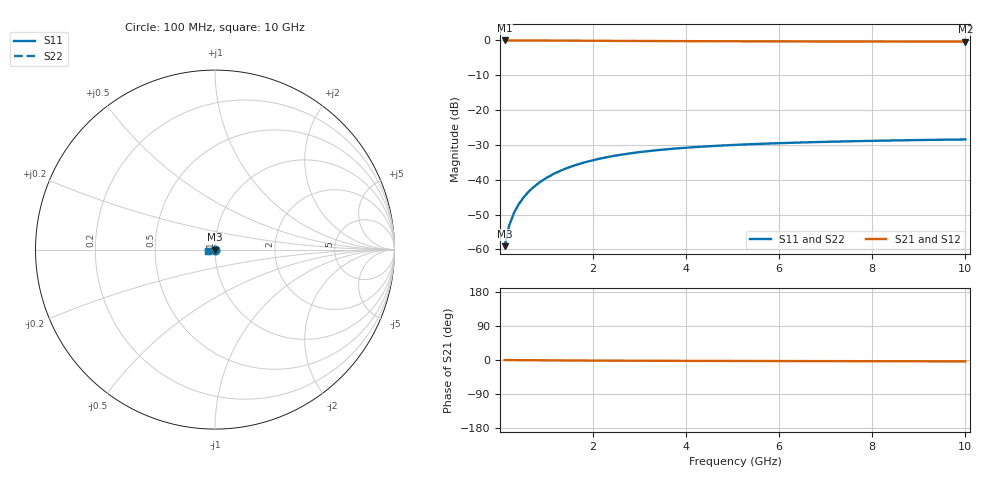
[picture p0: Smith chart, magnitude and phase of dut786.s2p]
! Touchstone file exported from HFSS 2024.1.0
!  File:  C:/UserFiles/LocalFiles/RDL_TSV_Batchsim/temp_TSV1_786_1779874920.aedt
!  Generated:  05:46:58 PM May 27, 2026
!  Design:  TSV1
!  Project:  temp_TSV1_786_1779874920
!  Setup:  Setup1
!  Solution:  Sweep
! Variables:
!  dtsv = 13.81um
!  hbump = 3um
!  htsv = 52.17um
!  lrdl = 252.1521522um
!  p = 40
!  p1 = 51.33um
!  t = 500um
!  trdl = 3um
!  wrdl = 24.89489489um
# GHz S MA R 50.000000
! Terminal data exported
! Port[1] = TSV22_T1
! Port[2] = TSV22_T2
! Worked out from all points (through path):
!   100 points, 100 MHz to 10 GHz, reference 50 ohm
!   highest |S21| = 0.00 dB at 100 MHz (marker M1); lowest = -0.3 dB at 10 GHz (marker M2)
!   lowest |S11| = -59.1 dB at 100 MHz (marker M3), VSWR 1.00, Z = 50 - j0.111 ohm
!   |S11| at or under -10 dB: start of sweep to end of sweep
!   |S22| runs from -59.1 to -28.4 dB; largest |S21 - S12| = 1.5e-15
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0.1  0.001112 -88.3  0.9999 -0.1  0.9999 -0.1  0.001112 -88.3
! Gamma 0 0 0 0
! Port Impedance 50 0 50 0
0.2  0.002218 -91.8  0.9998 -0.2  0.9998 -0.2  0.002218 -91.8
0.3  0.003319 -94.2  0.9996 -0.3  0.9996 -0.3  0.003319 -94.2
0.4  0.004412 -96.3  0.9993 -0.4  0.9993 -0.4  0.004412 -96.3
0.5  0.005492 -98.2  0.999 -0.5  0.999 -0.5  0.005492 -98.2
0.6  0.006559 -100.0  0.9986 -0.6  0.9986 -0.6  0.006559 -100.0
0.7  0.00761 -101.8  0.9982 -0.7  0.9982 -0.7  0.00761 -101.8
0.8  0.008641 -103.6  0.9977 -0.7  0.9977 -0.7  0.008641 -103.6
0.9  0.009652 -105.3  0.9972 -0.8  0.9972 -0.8  0.009652 -105.3
1.1  0.01161 -108.6  0.996 -1.0  0.996 -1.0  0.01161 -108.6
1.4  0.01434 -113.3  0.994 -1.2  0.994 -1.2  0.01434 -113.3
1.6  0.01603 -116.3  0.9926 -1.3  0.9926 -1.3  0.01603 -116.3
1.8  0.01761 -119.1  0.9911 -1.5  0.9911 -1.5  0.01761 -119.1
2.1  0.01977 -123.1  0.9889 -1.6  0.9889 -1.6  0.01977 -123.1
2.5  0.02229 -127.9  0.9861 -1.8  0.9861 -1.8  0.02229 -127.9
2.9  0.02443 -132.1  0.9835 -2.0  0.9835 -2.0  0.02443 -132.1
3.4  0.02666 -136.8  0.9804 -2.1  0.9804 -2.1  0.02666 -136.8
4.2  0.02945 -143.0  0.9763 -2.4  0.9763 -2.4  0.02945 -143.0
5.1  0.03176 -148.7  0.9726 -2.6  0.9726 -2.6  0.03176 -148.7
6.7  0.0346 -156.4  0.9678 -2.9  0.9678 -2.9  0.0346 -156.4
8.4  0.03659 -162.8  0.9645 -3.3  0.9645 -3.3  0.03659 -162.8
10  0.03789 -167.8  0.9623 -3.6  0.9623 -3.6  0.03789 -167.8
